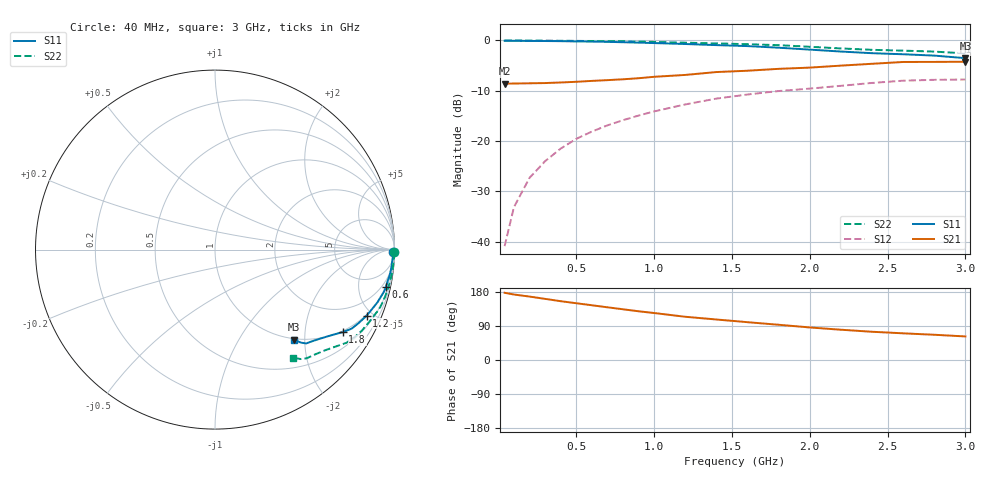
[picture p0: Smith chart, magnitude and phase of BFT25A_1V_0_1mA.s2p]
! Filename:  BFT25AA.S2P  Version:  2.0
! Philips part #: BFT25A  Date: Aug 1990
! Bias condition: Vce=1V, Ic=0.1mA
#  MHz  S  MA  R  50
! Freq  S11  S21  S12  S22  !GUM [dB]
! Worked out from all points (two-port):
!   21 points, 40 MHz to 3 GHz, reference 50 ohm
!   highest |S21| = -4.24 dB at 3 GHz (marker M1); lowest = -8.6 dB at 40 MHz (marker M2)
!   |S21| within 3 dB of the highest: 997.7 MHz to end of sweep
!   lowest |S11| = -3.5 dB at 3 GHz (marker M3), VSWR 5.01, Z = 48.9 - j88.5 ohm
!   |S11| at or under -10 dB: nowhere
!   |S22| runs from -2.6 to 0.0 dB; largest |S21 - S12| = 0.37
!   S11 on the Smith chart (normalised r, x): 40 MHz: open; 600 MHz: 1.11, -9.23; 1.2 GHz: 0.94, -4.62; 1.8 GHz: 0.96, -3.12; 3 GHz: 0.98, -1.77
40  0.993 -0.9  0.372 177.4  0.009 86.4  1 -0.9
100  0.992 -2.1  0.373 172.8  0.022 88.4  0.999 -2.2
200  0.989 -4.2  0.375 167.4  0.043 86.0  0.997 -4.4
300  0.987 -6.3  0.377 161.3  0.063 84.2  0.995 -6.6
400  0.984 -8.2  0.382 155.2  0.084 82.4  0.993 -8.9
500  0.978 -10.2  0.388 149.8  0.105 80.7  0.99 -11.0
600  0.975 -12.2  0.396 144.5  0.124 79.1  0.987 -13.1
700  0.969 -14.2  0.403 139.1  0.143 77.3  0.984 -15.1
800  0.96 -16.0  0.411 133.9  0.161 75.5  0.98 -17.1
900  0.952 -17.9  0.421 128.6  0.179 73.6  0.975 -19.1
1000  0.942 -19.6  0.435 124.0  0.197 71.9  0.967 -21.0
1200  0.922 -23.5  0.454 114.1  0.231 67.8  0.95 -24.9
1400  0.899 -27.1  0.485 106.9  0.264 64.5  0.935 -28.8
1600  0.879 -30.1  0.5 99.8  0.29 61.3  0.918 -32.1
1800  0.847 -32.9  0.522 93.0  0.314 58.3  0.898 -35.3
2000  0.811 -35.8  0.537 85.9  0.332 54.3  0.865 -38.5
2200  0.776 -39.3  0.562 79.9  0.354 50.4  0.833 -42.2
2400  0.747 -42.9  0.586 74.5  0.378 47.2  0.807 -46.4
2600  0.729 -45.8  0.611 70.4  0.398 44.6  0.792 -49.9
2800  0.707 -47.2  0.612 66.6  0.406 42.5  0.775 -51.9
3000  0.667 -48.9  0.614 62.2  0.409 40.4  0.743 -54.2
